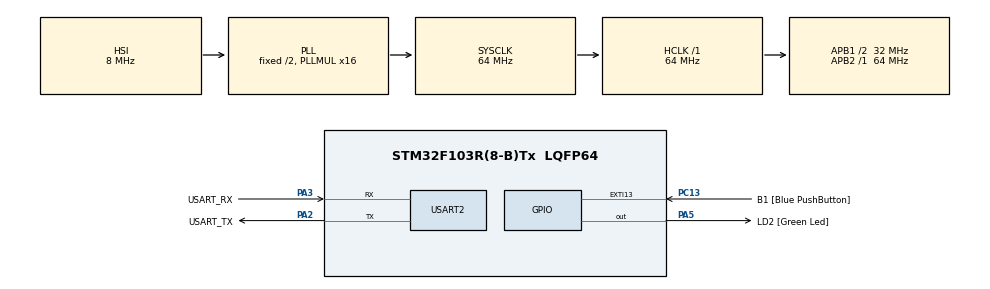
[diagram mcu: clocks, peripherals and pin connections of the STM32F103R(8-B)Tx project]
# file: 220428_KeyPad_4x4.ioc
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Mcu.Family=STM32F1
Mcu.Name=STM32F103R(8-B)Tx
Mcu.Package=LQFP64
NVIC.EXTI15_10_IRQn=true\:0\:0\:false\:false\:true\:true\:true\:true
NVIC.PriorityGroup=NVIC_PRIORITYGROUP_4
PA13.GPIO_Label=TMS
PA13.Mode=Serial_Wire
PA13.Signal=SYS_JTMS-SWDIO
PA14.GPIO_Label=TCK
PA14.Mode=Serial_Wire
PA14.Signal=SYS_JTCK-SWCLK
PA2.GPIO_Label=USART_TX
PA2.GPIO_Mode=GPIO_MODE_AF_PP
PA2.GPIO_PuPd=GPIO_NOPULL
PA2.GPIO_Speed=GPIO_SPEED_FREQ_LOW
PA2.Mode=Asynchronous
PA2.Signal=USART2_TX
PA3.GPIO_Label=USART_RX
PA3.GPIO_Mode=GPIO_MODE_AF_PP
PA3.GPIO_PuPd=GPIO_NOPULL
PA3.GPIO_Speed=GPIO_SPEED_FREQ_LOW
PA3.Mode=Asynchronous
PA3.Signal=USART2_RX
PA5.GPIO_Label=LD2 [Green Led]
PA5.GPIO_ModeDefaultOutputPP=GPIO_MODE_OUTPUT_PP
PA5.GPIO_PuPd=GPIO_NOPULL
PA5.GPIO_Speed=GPIO_SPEED_FREQ_LOW
PA5.Signal=GPIO_Output
PB3.GPIO_Label=SWO
PB3.Signal=SYS_JTDO-TRACESWO
PC13-TAMPER-RTC.GPIO_Label=B1 [Blue PushButton]
PC13-TAMPER-RTC.GPIO_PuPd=GPIO_NOPULL
PC13-TAMPER-RTC.Signal=GPXTI13
PC14-OSC32_IN.Mode=LSE-External-Oscillator
PC14-OSC32_IN.Signal=RCC_OSC32_IN
PC15-OSC32_OUT.Mode=LSE-External-Oscillator
PC15-OSC32_OUT.Signal=RCC_OSC32_OUT
PD0-OSC_IN.Mode=HSE-External-Clock-Source
PD0-OSC_IN.Signal=RCC_OSC_IN
PD1-OSC_OUT.Mode=HSE-External-Clock-Source
PD1-OSC_OUT.Signal=RCC_OSC_OUT
ProjectManager.HeapSize=0x200
ProjectManager.StackSize=0x400
ProjectManager.TargetToolchain=STM32CubeIDE
RCC.AHBFreq_Value=64000000
RCC.APB1CLKDivider=RCC_HCLK_DIV2
RCC.APB1Freq_Value=32000000
RCC.APB1TimFreq_Value=64000000
RCC.APB2Freq_Value=64000000
RCC.APB2TimFreq_Value=64000000
RCC.HCLKFreq_Value=64000000
RCC.PLLMUL=RCC_PLL_MUL16
RCC.RTCClockSelection=RCC_RTCCLKSOURCE_LSE
RCC.SYSCLKFreq_VALUE=64000000
RCC.SYSCLKSource=RCC_SYSCLKSOURCE_PLLCLK
RCC.USBFreq_Value=64000000
TIM2.Prescaler=64-1
USART2.VirtualMode=VM_ASYNC
VP_TIM2_VS_ClockSourceINT.Mode=Internal
board=NUCLEO-F103RB

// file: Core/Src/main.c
/* USER CODE BEGIN Header */
/**
  ******************************************************************************
  * @file           : main.c
  * @brief          : Main program body
  ******************************************************************************
  * @attention
  *
  * Copyright (c) 2022 STMicroelectronics.
  * All rights reserved.
  *
  * This software is licensed under terms that can be found in the LICENSE file
  * in the root directory of this software component.
  * If no LICENSE file comes with this software, it is provided AS-IS.
  *
  ******************************************************************************
  */
/* USER CODE END Header */
#include "main.h"

 TIM_HandleTypeDef htim2;

UART_HandleTypeDef huart2;

void SystemClock_Config(void);
static void MX_GPIO_Init(void);
static void MX_USART2_UART_Init(void);
static void MX_TIM2_Init(void);

/* USER CODE BEGIN 0 */
void delay (uint16_t time)
{
	/* change your code here for the delay in microseconds */
	__HAL_TIM_SET_COUNTER(&htim6, 0);
	while ((__HAL_TIM_GET_COUNTER(&htim6))<time);
}
int getKeyNumber(){
	int scanValue = 0;
	for(int idx = 0; idx<4;idx++){
		KEYPAD_PORT_OUT = ~(0x10 << idx);// idx=0; -> 1110,
										// idx=1; -> 1101
		delay(500);
		if((KEYPAD_PORT_IN & 0x0F) == 0x0E){
			scanValue = i+1;
			break;
		}
		else if((KEYPAD_PORT_IN & 0x0F) == 0x0D){
			scanValue = i+5;
			break;
		}
		else if((KEYPAD_PORT_IN & 0x0F) == 0x0B){
			scanValue = i+9;
			break;
		}
		else if((KEYPAD_PORT_IN & 0x0F) == 0x07){
			scanValue = i+13;
			break;
		}
	}
	return scanValue;
}
/* USER CODE END 0 */

int main(void)
{

  /* MCU Configuration--------------------------------------------------------*/

  /* Reset of all peripherals, Initializes the Flash interface and the Systick. */
  HAL_Init();

  /* Configure the system clock */
  SystemClock_Config();

  /* Initialize all configured peripherals */
  MX_GPIO_Init();
  MX_USART2_UART_Init();
  MX_TIM2_Init();

  /* Infinite loop */
  while (1)
  {

  }
}

void SystemClock_Config(void)
{
  RCC_OscInitTypeDef RCC_OscInitStruct = {0};
  RCC_ClkInitTypeDef RCC_ClkInitStruct = {0};

  /** Initializes the RCC Oscillators according to the specified parameters
  * in the RCC_OscInitTypeDef structure.
  */
  RCC_OscInitStruct.OscillatorType = RCC_OSCILLATORTYPE_HSI;
  RCC_OscInitStruct.HSIState = RCC_HSI_ON;
  RCC_OscInitStruct.HSICalibrationValue = RCC_HSICALIBRATION_DEFAULT;
  RCC_OscInitStruct.PLL.PLLState = RCC_PLL_ON;
  RCC_OscInitStruct.PLL.PLLSource = RCC_PLLSOURCE_HSI_DIV2;
  RCC_OscInitStruct.PLL.PLLMUL = RCC_PLL_MUL16;
  if (HAL_RCC_OscConfig(&RCC_OscInitStruct) != HAL_OK)
  {
    Error_Handler();
  }

  /** Initializes the CPU, AHB and APB buses clocks
  */
  RCC_ClkInitStruct.ClockType = RCC_CLOCKTYPE_HCLK|RCC_CLOCKTYPE_SYSCLK
                              |RCC_CLOCKTYPE_PCLK1|RCC_CLOCKTYPE_PCLK2;
  RCC_ClkInitStruct.SYSCLKSource = RCC_SYSCLKSOURCE_PLLCLK;
  RCC_ClkInitStruct.AHBCLKDivider = RCC_SYSCLK_DIV1;
  RCC_ClkInitStruct.APB1CLKDivider = RCC_HCLK_DIV2;
  RCC_ClkInitStruct.APB2CLKDivider = RCC_HCLK_DIV1;

  if (HAL_RCC_ClockConfig(&RCC_ClkInitStruct, FLASH_LATENCY_2) != HAL_OK)
  {
    Error_Handler();
  }
}

static void MX_TIM2_Init(void)
{

  TIM_ClockConfigTypeDef sClockSourceConfig = {0};
  TIM_MasterConfigTypeDef sMasterConfig = {0};

  htim2.Instance = TIM2;
  htim2.Init.Prescaler = 64-1;
  htim2.Init.CounterMode = TIM_COUNTERMODE_UP;
  htim2.Init.Period = 65535;
  htim2.Init.ClockDivision = TIM_CLOCKDIVISION_DIV1;
  htim2.Init.AutoReloadPreload = TIM_AUTORELOAD_PRELOAD_DISABLE;
  if (HAL_TIM_Base_Init(&htim2) != HAL_OK)
  {
    Error_Handler();
  }
  sClockSourceConfig.ClockSource = TIM_CLOCKSOURCE_INTERNAL;
  if (HAL_TIM_ConfigClockSource(&htim2, &sClockSourceConfig) != HAL_OK)
  {
    Error_Handler();
  }
  sMasterConfig.MasterOutputTrigger = TIM_TRGO_RESET;
  sMasterConfig.MasterSlaveMode = TIM_MASTERSLAVEMODE_DISABLE;
  if (HAL_TIMEx_MasterConfigSynchronization(&htim2, &sMasterConfig) != HAL_OK)
  {
    Error_Handler();
  }

}

static void MX_USART2_UART_Init(void)
{

  huart2.Instance = USART2;
  huart2.Init.BaudRate = 115200;
  huart2.Init.WordLength = UART_WORDLENGTH_8B;
  huart2.Init.StopBits = UART_STOPBITS_1;
  huart2.Init.Parity = UART_PARITY_NONE;
  huart2.Init.Mode = UART_MODE_TX_RX;
  huart2.Init.HwFlowCtl = UART_HWCONTROL_NONE;
  huart2.Init.OverSampling = UART_OVERSAMPLING_16;
  if (HAL_UART_Init(&huart2) != HAL_OK)
  {
    Error_Handler();
  }

}

static void MX_GPIO_Init(void)
{
  GPIO_InitTypeDef GPIO_InitStruct = {0};

  /* GPIO Ports Clock Enable */
  __HAL_RCC_GPIOC_CLK_ENABLE();
  __HAL_RCC_GPIOD_CLK_ENABLE();
  __HAL_RCC_GPIOA_CLK_ENABLE();
  __HAL_RCC_GPIOB_CLK_ENABLE();

  /*Configure GPIO pin Output Level */
  HAL_GPIO_WritePin(LD2_GPIO_Port, LD2_Pin, GPIO_PIN_RESET);

  /*Configure GPIO pin : B1_Pin */
  GPIO_InitStruct.Pin = B1_Pin;
  GPIO_InitStruct.Mode = GPIO_MODE_IT_RISING;
  GPIO_InitStruct.Pull = GPIO_NOPULL;
  HAL_GPIO_Init(B1_GPIO_Port, &GPIO_InitStruct);

  /*Configure GPIO pin : LD2_Pin */
  GPIO_InitStruct.Pin = LD2_Pin;
  GPIO_InitStruct.Mode = GPIO_MODE_OUTPUT_PP;
  GPIO_InitStruct.Pull = GPIO_NOPULL;
  GPIO_InitStruct.Speed = GPIO_SPEED_FREQ_LOW;
  HAL_GPIO_Init(LD2_GPIO_Port, &GPIO_InitStruct);

  /* EXTI interrupt init*/
  HAL_NVIC_SetPriority(EXTI15_10_IRQn, 0, 0);
  HAL_NVIC_EnableIRQ(EXTI15_10_IRQn);

}

void Error_Handler(void)
{
  __disable_irq();
  while (1)
  {
  }
}
